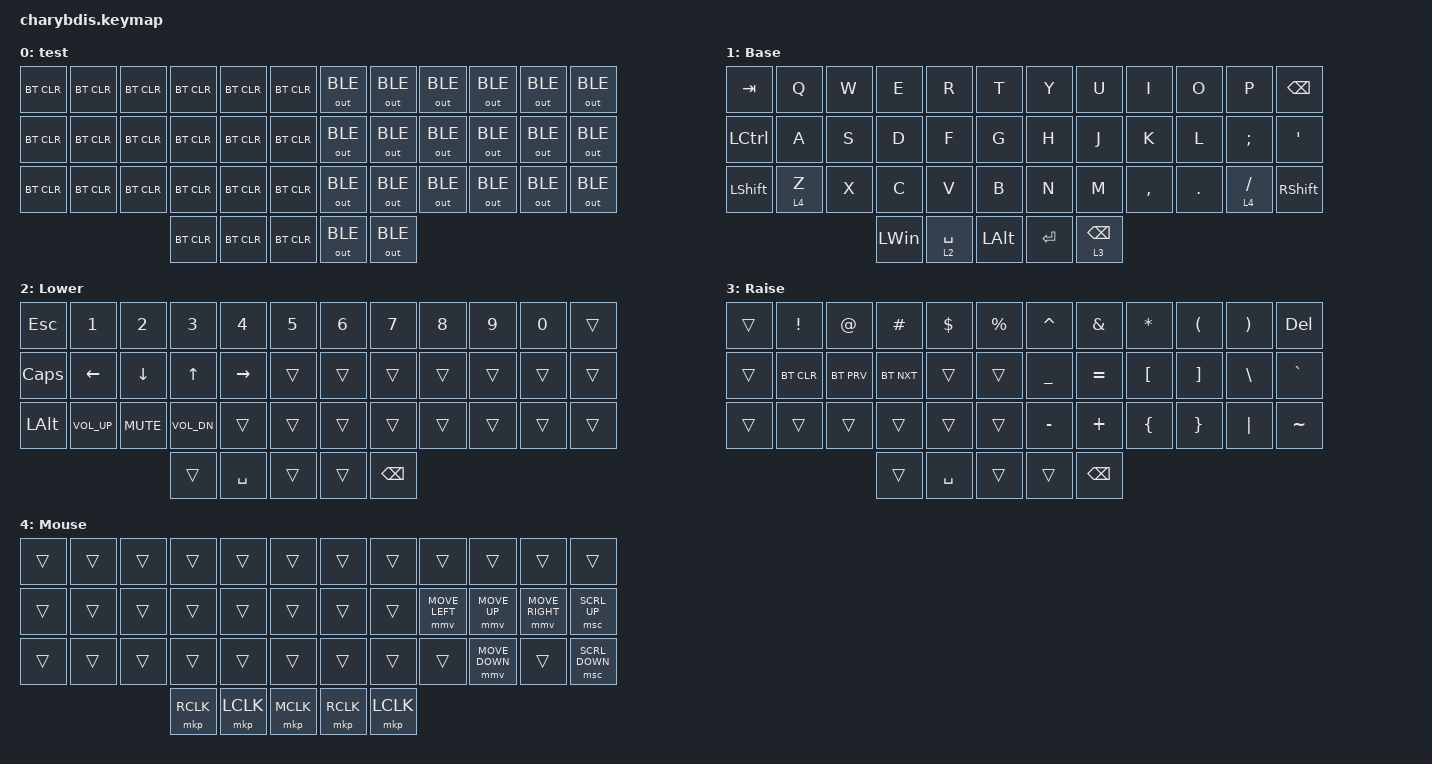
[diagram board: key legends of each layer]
#include <behaviors.dtsi>
#include <dt-bindings/zmk/bt.h>
#include <dt-bindings/zmk/keys.h>
#include <dt-bindings/zmk/outputs.h>
#include <dt-bindings/zmk/mouse.h>
#include <dt-bindings/zmk/kscan_mock.h>
#include <behaviors/mouse_move.dtsi>
#include <behaviors/mouse_scroll.dtsi>
#include <behaviors/mouse_keys.dtsi>

&lt {
    tapping-term-ms = <200>;
    flavor = "balanced";
    quick-tap-ms = <150>;
};

/ {
    keymap {
        compatible = "zmk,keymap";

        test {
            bindings = <
&bt BT_CLR  &bt BT_CLR  &bt BT_CLR  &bt BT_CLR  &bt BT_CLR  &bt BT_CLR    &out OUT_BLE  &out OUT_BLE  &out OUT_BLE  &out OUT_BLE  &out OUT_BLE  &out OUT_BLE
&bt BT_CLR  &bt BT_CLR  &bt BT_CLR  &bt BT_CLR  &bt BT_CLR  &bt BT_CLR    &out OUT_BLE  &out OUT_BLE  &out OUT_BLE  &out OUT_BLE  &out OUT_BLE  &out OUT_BLE
&bt BT_CLR  &bt BT_CLR  &bt BT_CLR  &bt BT_CLR  &bt BT_CLR  &bt BT_CLR    &out OUT_BLE  &out OUT_BLE  &out OUT_BLE  &out OUT_BLE  &out OUT_BLE  &out OUT_BLE
                                    &bt BT_CLR  &bt BT_CLR  &bt BT_CLR    &out OUT_BLE  &out OUT_BLE
            >;
        };

        Base {
            label = "Base";
            bindings = <
&kp TAB         &kp Q    &kp W  &kp E     &kp R        &kp T           &kp Y      &kp U            &kp I      &kp O    &kp P        &kp BSPC
&kp LCTRL       &kp A    &kp S  &kp D     &kp F        &kp G           &kp H      &kp J            &kp K      &kp L    &kp SEMI     &kp APOS
&kp LEFT_SHIFT  &lt 4 Z  &kp X  &kp C     &kp V        &kp B           &kp N      &kp M            &kp COMMA  &kp DOT  &lt 4 SLASH  &kp RSHIFT
                                &kp LWIN  &lt 2 SPACE  &kp LEFT_ALT    &kp ENTER  &lt 3 BACKSPACE
            >;
        };

        Lower {
            label = "Lower";
            bindings = <
&kp ESCAPE    &kp NUMBER_1     &kp NUMBER_2  &kp NUMBER_3  &kp NUMBER_4     &kp NUMBER_5    &kp NUMBER_6  &kp NUMBER_7   &kp NUMBER_8  &kp NUMBER_9  &kp NUMBER_0  &trans
&kp CAPSLOCK  &kp LEFT         &kp DOWN      &kp UP_ARROW  &kp RIGHT_ARROW  &trans          &trans        &trans         &trans        &trans        &trans        &trans
&kp LEFT_ALT  &kp C_VOLUME_UP  &kp C_MUTE    &kp C_VOL_DN  &trans           &trans          &trans        &trans         &trans        &trans        &trans        &trans
                                             &trans        &kp SPACE        &trans          &trans        &kp BACKSPACE
            >;
        };

        Raise {
            label = "Raise";
            bindings = <
&trans  &kp EXCL    &kp AT      &kp HASH    &kp DLLR   &kp PRCNT    &kp CARET  &kp AMPS       &kp ASTERISK  &kp LPAR  &kp RPAR  &kp DEL
&trans  &bt BT_CLR  &bt BT_PRV  &bt BT_NXT  &trans     &trans       &kp UNDER  &kp EQUAL      &kp LBKT      &kp RBKT  &kp BSLH  &kp GRAVE
&trans  &trans      &trans      &trans      &trans     &trans       &kp MINUS  &kp PLUS       &kp LBRC      &kp RBRC  &kp PIPE  &kp TILDE
                                &trans      &kp SPACE  &trans       &trans     &kp BACKSPACE
            >;
        };

        Mouse {
            bindings = <
&trans  &trans  &trans  &trans     &trans     &trans       &trans     &trans     &trans          &trans          &trans           &trans
&trans  &trans  &trans  &trans     &trans     &trans       &trans     &trans     &mmv MOVE_LEFT  &mmv MOVE_UP    &mmv MOVE_RIGHT  &msc SCRL_UP
&trans  &trans  &trans  &trans     &trans     &trans       &trans     &trans     &trans          &mmv MOVE_DOWN  &trans           &msc SCRL_DOWN
                        &mkp RCLK  &mkp LCLK  &mkp MCLK    &mkp RCLK  &mkp LCLK
            >;
        };
    };
};
